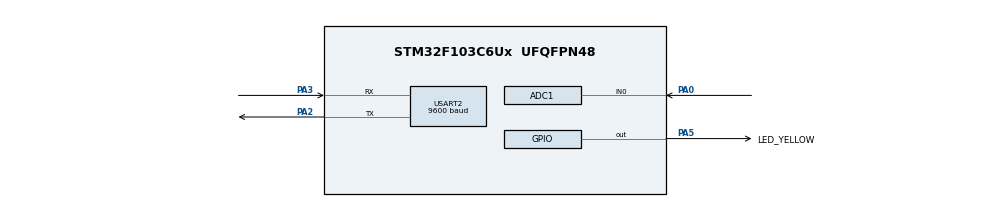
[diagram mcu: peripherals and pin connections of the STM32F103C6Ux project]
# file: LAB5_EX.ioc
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ADC1.Channel-0\#ChannelRegularConversion=ADC_CHANNEL_0
ADC1.ContinuousConvMode=ENABLE
ADC1.NbrOfConversionFlag=1
ADC1.Rank-0\#ChannelRegularConversion=1
ADC1.SamplingTime-0\#ChannelRegularConversion=ADC_SAMPLETIME_1CYCLE_5
ADC1.master=1
Mcu.Family=STM32F1
Mcu.Name=STM32F103C6Ux
Mcu.Package=UFQFPN48
NVIC.PriorityGroup=NVIC_PRIORITYGROUP_4
NVIC.TIM2_IRQn=true\:0\:0\:false\:false\:true\:true\:true
NVIC.USART2_IRQn=true\:0\:0\:false\:false\:true\:true\:true
PA0-WKUP.Signal=ADCx_IN0
PA13.Mode=Serial_Wire
PA13.Signal=SYS_JTMS-SWDIO
PA14.Mode=Serial_Wire
PA14.Signal=SYS_JTCK-SWCLK
PA2.Mode=Asynchronous
PA2.Signal=USART2_TX
PA3.Mode=Asynchronous
PA3.Signal=USART2_RX
PA5.GPIO_Label=LED_YELLOW
PA5.Signal=GPIO_Output
ProjectManager.HeapSize=0x200
ProjectManager.StackSize=0x400
ProjectManager.TargetToolchain=STM32CubeIDE
RCC.APB1Freq_Value=8000000
RCC.APB2Freq_Value=8000000
SH.ADCx_IN0.0=ADC1_IN0,IN0
TIM2.Period=9
TIM2.Prescaler=7999
USART2.BaudRate=9600
USART2.VirtualMode=VM_ASYNC
VP_TIM2_VS_ClockSourceINT.Mode=Internal
board=custom

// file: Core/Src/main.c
/* USER CODE BEGIN Header */
/**
  ******************************************************************************
  * @file           : main.c
  * @brief          : Main program body
  ******************************************************************************
  * @attention
  *
  * <h2><center>&copy; Copyright (c) 2023 STMicroelectronics.
  * All rights reserved.</center></h2>
  *
  * This software component is licensed by ST under BSD 3-Clause license,
  * the "License"; You may not use this file except in compliance with the
  * License. You may obtain a copy of the License at:
  *                        opensource.org/licenses/BSD-3-Clause
  *
  ******************************************************************************
  */
/* USER CODE END Header */
#include "main.h"

/* USER CODE BEGIN Includes */
//#include "global.h"
#include "stdio.h"
#include "string.h"
#include "global.h"
#include "command_parser_fsm.h"
#include "uart_communication_fsm.h"
#include "software_timer.h"
/* USER CODE END Includes */

ADC_HandleTypeDef hadc1;

TIM_HandleTypeDef htim2;

UART_HandleTypeDef huart2;

void SystemClock_Config(void);
static void MX_GPIO_Init(void);
static void MX_ADC1_Init(void);
static void MX_USART2_UART_Init(void);
static void MX_TIM2_Init(void);
/* USER CODE BEGIN PFP */
uint32_t ADC_value = 0;
char str[10];
void ADC_transmit(){
	ADC_value = HAL_ADC_GetValue (& hadc1 );
	sprintf (str , "!ADC=%lu#\r\n", ADC_value );
	HAL_UART_Transmit (&huart2 , ( uint8_t *)str ,strlen(str) , 1000) ;
	setTimer1(3000);
}

/* USER CODE END PFP */

/* USER CODE BEGIN 0 */

void HAL_UART_RxCpltCallback ( UART_HandleTypeDef * huart ){
	if(huart -> Instance == USART2 ){
		buffer[index_buffer++] = temp;
		if(index_buffer >= MAX_SIZE_BUFFER) index_buffer = 0;
		buffer_flag = 1;
		HAL_UART_Receive_IT (& huart2 , &temp , 1);
	}
}
/* USER CODE END 0 */

int main(void)
{
  /* USER CODE BEGIN 1 */
	parserStatus = WAIT_STATE;
	uartStatus = WAIT_CMD;
  /* USER CODE END 1 */

  /* MCU Configuration--------------------------------------------------------*/

  /* Reset of all peripherals, Initializes the Flash interface and the Systick. */
  HAL_Init();

  /* Configure the system clock */
  SystemClock_Config();

  /* Initialize all configured peripherals */
  MX_GPIO_Init();
  MX_ADC1_Init();
  MX_USART2_UART_Init();
  MX_TIM2_Init();
  /* USER CODE BEGIN 2 */
  HAL_UART_Receive_IT (&huart2 , &temp , 1);
  HAL_TIM_Base_Start_IT (& htim2 );
  HAL_ADC_Start(&hadc1);

  /* USER CODE END 2 */

  /* Infinite loop */
  /* USER CODE BEGIN WHILE */
  while (1)
  {
	  if (buffer_flag == 1)
	  {
		  buffer_flag = 0;
		  command_parser_fsm();
	  }
	  uart_communication_fsm();

    /* USER CODE END WHILE */

  }
}

void SystemClock_Config(void)
{
  RCC_OscInitTypeDef RCC_OscInitStruct = {0};
  RCC_ClkInitTypeDef RCC_ClkInitStruct = {0};
  RCC_PeriphCLKInitTypeDef PeriphClkInit = {0};

  /** Initializes the RCC Oscillators according to the specified parameters
  * in the RCC_OscInitTypeDef structure.
  */
  RCC_OscInitStruct.OscillatorType = RCC_OSCILLATORTYPE_HSI;
  RCC_OscInitStruct.HSIState = RCC_HSI_ON;
  RCC_OscInitStruct.HSICalibrationValue = RCC_HSICALIBRATION_DEFAULT;
  RCC_OscInitStruct.PLL.PLLState = RCC_PLL_NONE;
  if (HAL_RCC_OscConfig(&RCC_OscInitStruct) != HAL_OK)
  {
    Error_Handler();
  }
  /** Initializes the CPU, AHB and APB buses clocks
  */
  RCC_ClkInitStruct.ClockType = RCC_CLOCKTYPE_HCLK|RCC_CLOCKTYPE_SYSCLK
                              |RCC_CLOCKTYPE_PCLK1|RCC_CLOCKTYPE_PCLK2;
  RCC_ClkInitStruct.SYSCLKSource = RCC_SYSCLKSOURCE_HSI;
  RCC_ClkInitStruct.AHBCLKDivider = RCC_SYSCLK_DIV1;
  RCC_ClkInitStruct.APB1CLKDivider = RCC_HCLK_DIV1;
  RCC_ClkInitStruct.APB2CLKDivider = RCC_HCLK_DIV1;

  if (HAL_RCC_ClockConfig(&RCC_ClkInitStruct, FLASH_LATENCY_0) != HAL_OK)
  {
    Error_Handler();
  }
  PeriphClkInit.PeriphClockSelection = RCC_PERIPHCLK_ADC;
  PeriphClkInit.AdcClockSelection = RCC_ADCPCLK2_DIV2;
  if (HAL_RCCEx_PeriphCLKConfig(&PeriphClkInit) != HAL_OK)
  {
    Error_Handler();
  }
}

static void MX_ADC1_Init(void)
{

  ADC_ChannelConfTypeDef sConfig = {0};

  /** Common config
  */
  hadc1.Instance = ADC1;
  hadc1.Init.ScanConvMode = ADC_SCAN_DISABLE;
  hadc1.Init.ContinuousConvMode = ENABLE;
  hadc1.Init.DiscontinuousConvMode = DISABLE;
  hadc1.Init.ExternalTrigConv = ADC_SOFTWARE_START;
  hadc1.Init.DataAlign = ADC_DATAALIGN_RIGHT;
  hadc1.Init.NbrOfConversion = 1;
  if (HAL_ADC_Init(&hadc1) != HAL_OK)
  {
    Error_Handler();
  }
  /** Configure Regular Channel
  */
  sConfig.Channel = ADC_CHANNEL_0;
  sConfig.Rank = ADC_REGULAR_RANK_1;
  sConfig.SamplingTime = ADC_SAMPLETIME_1CYCLE_5;
  if (HAL_ADC_ConfigChannel(&hadc1, &sConfig) != HAL_OK)
  {
    Error_Handler();
  }

}

static void MX_TIM2_Init(void)
{

  TIM_ClockConfigTypeDef sClockSourceConfig = {0};
  TIM_MasterConfigTypeDef sMasterConfig = {0};

  htim2.Instance = TIM2;
  htim2.Init.Prescaler = 7999;
  htim2.Init.CounterMode = TIM_COUNTERMODE_UP;
  htim2.Init.Period = 9;
  htim2.Init.ClockDivision = TIM_CLOCKDIVISION_DIV1;
  htim2.Init.AutoReloadPreload = TIM_AUTORELOAD_PRELOAD_DISABLE;
  if (HAL_TIM_Base_Init(&htim2) != HAL_OK)
  {
    Error_Handler();
  }
  sClockSourceConfig.ClockSource = TIM_CLOCKSOURCE_INTERNAL;
  if (HAL_TIM_ConfigClockSource(&htim2, &sClockSourceConfig) != HAL_OK)
  {
    Error_Handler();
  }
  sMasterConfig.MasterOutputTrigger = TIM_TRGO_RESET;
  sMasterConfig.MasterSlaveMode = TIM_MASTERSLAVEMODE_DISABLE;
  if (HAL_TIMEx_MasterConfigSynchronization(&htim2, &sMasterConfig) != HAL_OK)
  {
    Error_Handler();
  }

}

static void MX_USART2_UART_Init(void)
{

  huart2.Instance = USART2;
  huart2.Init.BaudRate = 9600;
  huart2.Init.WordLength = UART_WORDLENGTH_8B;
  huart2.Init.StopBits = UART_STOPBITS_1;
  huart2.Init.Parity = UART_PARITY_NONE;
  huart2.Init.Mode = UART_MODE_TX_RX;
  huart2.Init.HwFlowCtl = UART_HWCONTROL_NONE;
  huart2.Init.OverSampling = UART_OVERSAMPLING_16;
  if (HAL_UART_Init(&huart2) != HAL_OK)
  {
    Error_Handler();
  }

}

static void MX_GPIO_Init(void)
{
  GPIO_InitTypeDef GPIO_InitStruct = {0};

  /* GPIO Ports Clock Enable */
  __HAL_RCC_GPIOA_CLK_ENABLE();

  /*Configure GPIO pin Output Level */
  HAL_GPIO_WritePin(LED_YELLOW_GPIO_Port, LED_YELLOW_Pin, GPIO_PIN_RESET);

  /*Configure GPIO pin : LED_YELLOW_Pin */
  GPIO_InitStruct.Pin = LED_YELLOW_Pin;
  GPIO_InitStruct.Mode = GPIO_MODE_OUTPUT_PP;
  GPIO_InitStruct.Pull = GPIO_NOPULL;
  GPIO_InitStruct.Speed = GPIO_SPEED_FREQ_LOW;
  HAL_GPIO_Init(LED_YELLOW_GPIO_Port, &GPIO_InitStruct);

}

/* USER CODE BEGIN 4 */
void HAL_TIM_PeriodElapsedCallback ( TIM_HandleTypeDef * htim )
{
	timerRun();
}
/* USER CODE END 4 */

void Error_Handler(void)
{
  __disable_irq();
  while (1)
  {
  }
}

/************************ (C) COPYRIGHT STMicroelectronics *****END OF FILE****/
